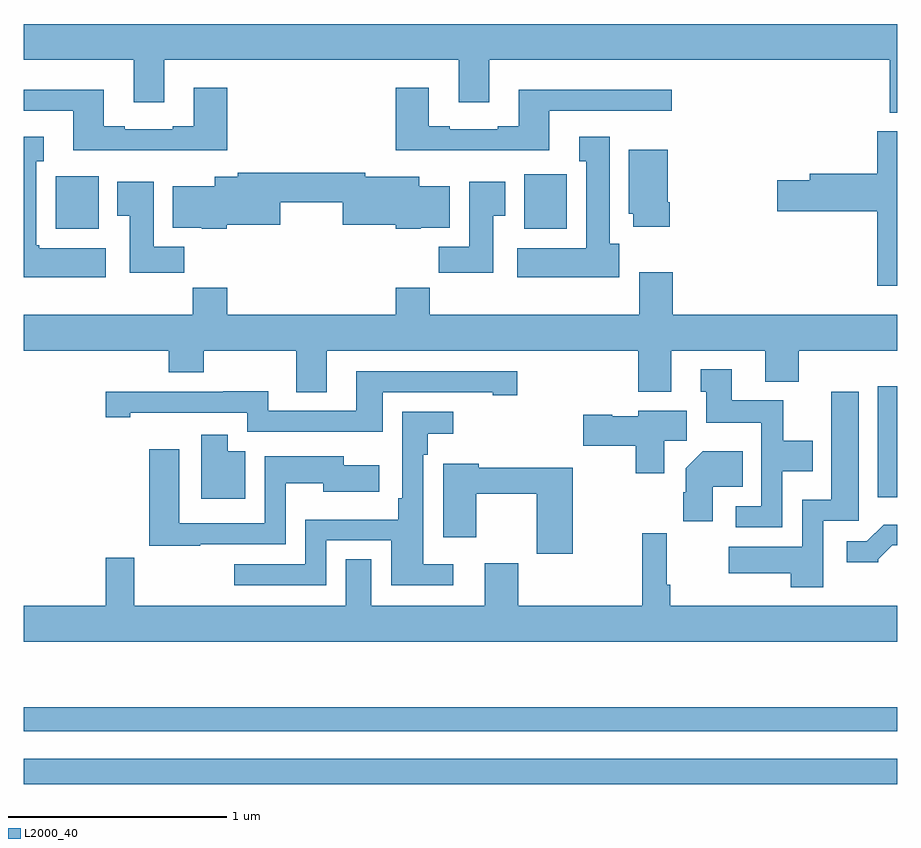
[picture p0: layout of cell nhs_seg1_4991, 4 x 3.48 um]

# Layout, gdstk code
import gdstk
lib = gdstk.Library(unit=1e-6, precision=1e-09)
def R(c, l, rs):  # rectangles x0, y0, x1, y1
    for r in rs: c.add(gdstk.rectangle(r[:2], r[2:], *l))
def P(c, l, *ps):  # polygons
    for p in ps: c.add(gdstk.Polygon(p, *l))
L2000_40 = (2000, 40)

nhs_seg1_4991 = lib.new_cell('nhs_seg1_4991')
R(nhs_seg1_4991, L2000_40, [(381,548.416,385,548.532), (381,548.658,385,548.767), (384.911,549.729,385,550.237), (381.146,550.958,381.343,551.2), (383.291,550.958,383.487,551.209)])
P(nhs_seg1_4991, L2000_40, [(385,551.896),(381,551.896),(381,551.732),(381.503,551.732),(381.503,551.538),(381.643,551.538),(381.643,551.732),(382.991,551.732),(382.991,551.538),(383.131,551.538),(383.131,551.732),(384.965,551.732),(384.965,551.489),(385,551.489)],
  [(381.932,551.605),(381.779,551.605),(381.779,551.428),(381.683,551.428),(381.683,551.415),(381.463,551.415),(381.463,551.428),(381.367,551.428),(381.367,551.596),(381,551.596),(381,551.499),(381.227,551.499),(381.227,551.318),(381.932,551.318)],
  [(383.407,551.499),(383.968,551.499),(383.968,551.596),(383.267,551.596),(383.267,551.428),(383.171,551.428),(383.171,551.415),(382.951,551.415),(382.951,551.428),(382.855,551.428),(382.855,551.605),(382.703,551.605),(382.703,551.318),(383.407,551.318)],
  [(385,551.404),(384.908,551.404),(384.908,551.21),(384.599,551.21),(384.599,551.18),(384.45,551.18),(384.45,551.038),(384.908,551.038),(384.908,550.697),(385,550.697)],
  [(381.376,550.87),(381.072,550.87),(381.072,550.884),(381.058,550.884),(381.058,551.267),(381.091,551.267),(381.091,551.38),(381,551.38),(381,550.736),(381.376,550.736)],
  [(383.728,550.89),(383.683,550.89),(383.683,551.38),(383.543,551.38),(383.543,551.267),(383.576,551.267),(383.576,550.87),(383.259,550.87),(383.259,550.736),(383.728,550.736)],
  [(383.958,551.08),(383.95,551.08),(383.95,551.32),(383.771,551.32),(383.771,551.028),(383.792,551.028),(383.792,550.968),(383.958,550.968)],
  [(381.93,550.976),(382.174,550.976),(382.174,551.08),(382.46,551.08),(382.46,550.976),(382.704,550.976),(382.704,550.958),(382.818,550.958),(382.818,550.964),(382.951,550.964),(382.951,551.152),(382.81,551.152),(382.81,551.197),(382.564,551.197),(382.564,551.216),(381.979,551.216),(381.979,551.197),(381.875,551.197),(381.875,551.152),(381.683,551.152),(381.683,550.964),(381.816,550.964),(381.816,550.958),(381.93,550.958)],
  [(383.149,551.017),(383.206,551.017),(383.206,551.173),(383.039,551.173),(383.039,550.876),(382.9,550.876),(382.9,550.758),(383.149,550.758)],
  [(381.734,550.876),(381.595,550.876),(381.595,551.173),(381.428,551.173),(381.428,551.017),(381.485,551.017),(381.485,550.758),(381.734,550.758)],
  [(382.387,550.4),(383.813,550.4),(383.813,550.211),(383.965,550.211),(383.965,550.4),(384.395,550.4),(384.395,550.259),(384.548,550.259),(384.548,550.4),(385,550.4),(385,550.564),(383.972,550.564),(383.972,550.759),(383.819,550.759),(383.819,550.564),(382.859,550.564),(382.859,550.688),(382.703,550.688),(382.703,550.564),(381.932,550.564),(381.932,550.688),(381.775,550.688),(381.775,550.564),(381,550.564),(381,550.4),(381.665,550.4),(381.665,550.301),(381.825,550.301),(381.825,550.4),(382.247,550.4),(382.247,550.21),(382.387,550.21)],
  [(384.474,549.848),(384.613,549.848),(384.613,549.988),(384.477,549.988),(384.477,550.174),(384.241,550.174),(384.241,550.315),(384.101,550.315),(384.101,550.212),(384.125,550.212),(384.125,550.07),(384.378,550.07),(384.378,549.687),(384.261,549.687),(384.261,549.591),(384.474,549.591)],
  [(382.645,550.209),(383.147,550.209),(383.147,550.197),(383.26,550.197),(383.26,550.305),(382.523,550.305),(382.523,550.125),(382.119,550.125),(382.119,550.214),(381.913,550.214),(381.913,550.212),(381.375,550.212),(381.375,550.096),(381.487,550.096),(381.487,550.115),(381.716,550.115),(381.716,550.116),(382.023,550.116),(382.023,550.029),(382.645,550.029)],
  [(384.66,549.621),(384.823,549.621),(384.823,550.213),(384.698,550.213),(384.698,549.718),(384.564,549.718),(384.564,549.502),(384.228,549.502),(384.228,549.38),(384.512,549.38),(384.512,549.318),(384.66,549.318)],
  [(383.932,549.988),(384.037,549.988),(384.037,550.126),(383.814,550.126),(383.814,550.099),(383.694,550.099),(383.694,550.107),(383.562,550.107),(383.562,549.965),(383.803,549.965),(383.803,549.84),(383.932,549.84)],
  [(382.386,549.531),(382.682,549.531),(382.682,549.327),(382.966,549.327),(382.966,549.423),(382.83,549.423),(382.83,549.923),(382.85,549.923),(382.85,550.019),(382.966,550.019),(382.966,550.12),(382.734,550.12),(382.734,549.724),(382.714,549.724),(382.714,549.627),(382.29,549.627),(382.29,549.423),(381.963,549.423),(381.963,549.327),(382.386,549.327)],
  [(382.015,549.94),(381.934,549.94),(381.934,550.015),(381.812,550.015),(381.812,549.722),(382.015,549.722)],
  [(381.808,549.513),(382.2,549.513),(382.2,549.794),(382.371,549.794),(382.371,549.755),(382.627,549.755),(382.627,549.876),(382.465,549.876),(382.465,549.916),(382.104,549.916),(382.104,549.609),(381.712,549.609),(381.712,549.949),(381.575,549.949),(381.575,549.508),(381.808,549.508)],
  [(384.154,549.776),(384.293,549.776),(384.293,549.94),(384.11,549.94),(384.032,549.862),(384.032,549.752),(384.02,549.752),(384.02,549.618),(384.154,549.618)],
  [(383.514,549.865),(383.084,549.865),(383.084,549.883),(382.922,549.883),(382.922,549.546),(383.071,549.546),(383.071,549.744),(383.348,549.744),(383.348,549.471),(383.514,549.471)],
  [(384.912,549.446),(384.976,549.51),(385,549.51),(385,549.604),(384.937,549.604),(384.861,549.528),(384.768,549.528),(384.768,549.431),(384.912,549.431)],
  [(385,549.232),(383.96,549.232),(383.96,549.328),(383.945,549.328),(383.945,549.565),(383.832,549.565),(383.832,549.232),(383.264,549.232),(383.264,549.427),(383.111,549.427),(383.111,549.232),(382.591,549.232),(382.591,549.446),(382.475,549.446),(382.475,549.232),(381.507,549.232),(381.507,549.451),(381.376,549.451),(381.376,549.232),(381,549.232),(381,549.068),(385,549.068)])

lib.write_gds('nhs_seg1_4991.gds')
